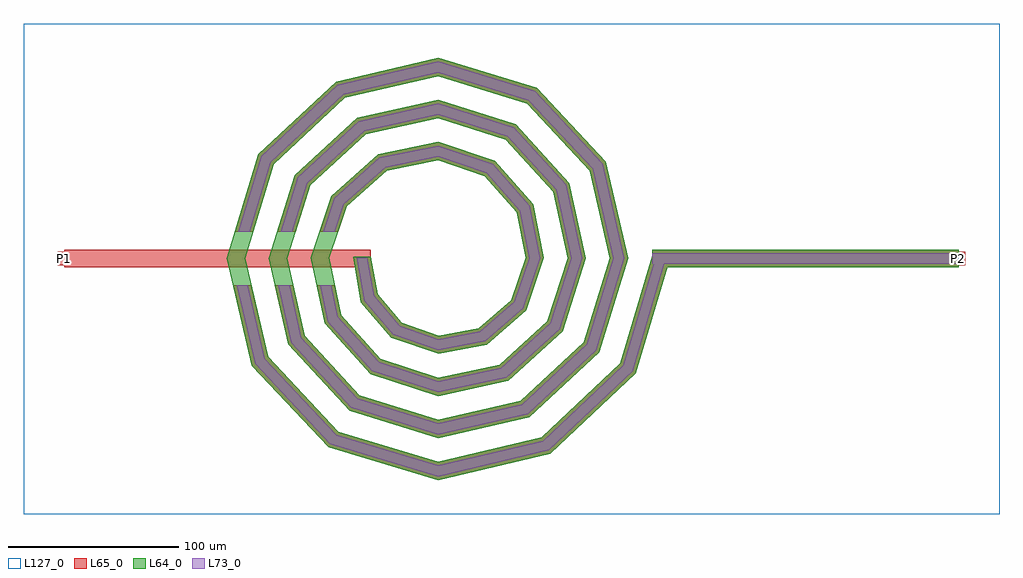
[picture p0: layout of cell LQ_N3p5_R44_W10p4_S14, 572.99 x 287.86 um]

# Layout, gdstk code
import gdstk
lib = gdstk.Library(unit=1e-6, precision=1e-09)
def R(c, l, rs):  # rectangles x0, y0, x1, y1
    for r in rs: c.add(gdstk.rectangle(r[:2], r[2:], *l))
def P(c, l, *ps):  # polygons
    for p in ps: c.add(gdstk.Polygon(p, *l))
L64_0 = (64, 0)
L65_0 = (65, 0)
L73_0 = (73, 0)
L127_0 = (127, 0)

lq_n3p5_r44_w10p4_s14 = lib.new_cell('LQ_N3p5_R44_W10p4_S14')
R(lq_n3p5_r44_w10p4_s14, L64_0, [(125.688,-5.2,305.688,5.2)])
P(lq_n3p5_r44_w10p4_s14, L64_0, [(-35.454,-20.981),(-21.258,-37.668),(0.407,-45.306),(24.019,-40.821),(42.985,-24.383),(51.473,0.363),(46.183,27.068),(27.5,48.308),(0.327,57.642),(-30.124,51.541),(-53.634,30.611),(-63.81,0.298),(-56.897,-33.184),(-33.718,-58.964),(0.274,-69.979),(36.249,-62.251),(64.296,-36.821),(76.149,0.253),(67.604,39.316),(39.922,69.629),(0.235,82.318),(-42.387,72.955),(-74.964,43.021),(-88.488,0.22),(-78.306,-45.459),(-46.118,-80.3),(0.206,-94.657),(48.532,-83.656),(85.637,-49.214),(100.827,0.194),(89.005,51.607),(52.308,90.975),(0.184,106.997),(-54.683,94.353),(-96.313,55.401),(-113.167,0.174),(-99.701,-57.76),(-58.494,-101.652),(0.166,-119.337),(60.838,-105.048),(106.991,-61.586),(125.907,1.494),(135.869,-1.494),(116.152,-67.245),(65.937,-114.532),(0.166,-130.099),(-64.167,-110.804),(-109.192,-62.845),(-123.929,0.174),(-105.456,61.09),(-59.751,103.853),(0.184,117.758),(58.013,100.107),(98.515,56.657),(111.588,0.194),(94.758,-54.937),(53.562,-93.177),(0.206,-105.417),(-51.863,-89.407),(-87.839,-50.465),(-99.247,0.22),(-84.056,48.79),(-47.367,82.503),(0.235,93.076),(45.718,78.704),(77.167,44.267),(86.905,0.253),(73.351,-42.649),(41.165,-71.833),(0.274,-80.734),(-39.582,-67.996),(-66.5,-38.059),(-74.563,0.298),(-62.638,36.519),(-34.95,61.169),(0.327,68.391),(33.46,57.278),(55.84,31.835),(62.219,0.363),(51.913,-30.407),(28.713,-50.515),(0.407,-56.046),(-27.361,-46.543),(-45.195,-25.582),(-49.624,0.919),(-39.388,0.919)])
R(lq_n3p5_r44_w10p4_s14, L65_0, [(-219.306,-5.2,-39.306,5.2), (125.688,-5.2,305.688,5.2), (-223.306,-4,-215.306,4), (301.688,-4,309.688,4)])
P(lq_n3p5_r44_w10p4_s14, L65_0, [(-99.701,-57.76),(-58.494,-101.652),(0.166,-119.337),(60.838,-105.048),(106.991,-61.586),(125.907,1.494),(135.869,-1.494),(116.152,-67.245),(65.937,-114.532),(0.166,-130.099),(-64.167,-110.804),(-109.192,-62.845),(-120.24,-15.6),(-109.56,-15.6)],
  [(-78.306,-45.459),(-46.118,-80.3),(0.206,-94.657),(48.532,-83.656),(85.637,-49.214),(100.827,0.194),(89.005,51.607),(52.308,90.975),(0.184,106.997),(-54.683,94.353),(-96.313,55.402),(-108.383,15.6),(-119.251,15.6),(-105.456,61.09),(-59.751,103.853),(0.184,117.758),(58.013,100.107),(98.515,56.657),(111.588,0.194),(94.758,-54.937),(53.562,-93.177),(0.206,-105.417),(-51.863,-89.408),(-87.839,-50.465),(-95.686,-15.6),(-85.026,-15.6)],
  [(-56.897,-33.184),(-33.718,-58.964),(0.274,-69.979),(36.249,-62.251),(64.296,-36.821),(76.149,0.253),(67.604,39.316),(39.922,69.629),(0.235,82.318),(-42.387,72.956),(-74.964,43.021),(-83.54,15.6),(-94.437,15.6),(-84.057,48.79),(-47.367,82.503),(0.235,93.076),(45.718,78.704),(77.167,44.267),(86.905,0.253),(73.351,-42.649),(41.165,-71.833),(0.274,-80.734),(-39.582,-67.996),(-66.5,-38.059),(-71.221,-15.6),(-60.594,-15.6)],
  [(-21.258,-37.668),(0.407,-45.306),(24.02,-40.821),(42.985,-24.383),(51.473,0.363),(46.183,27.068),(27.5,48.308),(0.327,57.642),(-30.124,51.541),(-53.634,30.611),(-58.576,15.6),(-69.525,15.6),(-62.638,36.519),(-34.95,61.169),(0.327,68.391),(33.46,57.278),(55.84,31.835),(62.219,0.363),(51.913,-30.407),(28.713,-50.515),(0.407,-56.046),(-27.362,-46.544),(-45.195,-25.582),(-49.624,0.919),(-39.388,0.919),(-35.455,-20.981)])
R(lq_n3p5_r44_w10p4_s14, L73_0, [(125.688,-3.2,305.688,3.2)])
P(lq_n3p5_r44_w10p4_s14, L73_0, [(-101.526,-58.738),(-59.585,-103.412),(0.102,-121.406),(61.818,-106.872),(108.753,-62.674),(127.823,0.919),(133.953,0.919),(114.39,-66.157),(64.956,-112.708),(0.102,-128.03),(-63.076,-109.044),(-107.367,-61.867),(-118.186,-15.6),(-111.614,-15.6)],
  [(-80.139,-46.421),(-47.223,-82.051),(0.127,-96.727),(49.499,-85.487),(87.391,-50.314),(102.897,0.12),(90.833,52.578),(53.405,92.731),(0.113,109.066),(-55.658,96.18),(-98.071,56.495),(-110.473,15.6),(-117.161,15.6),(-103.697,59.996),(-58.777,102.026),(0.113,115.689),(56.916,98.351),(96.686,55.686),(109.519,0.12),(93.004,-53.837),(52.595,-91.346),(0.127,-103.348),(-50.758,-87.656),(-86.006,-49.503),(-93.636,-15.6),(-87.076,-15.6)],
  [(-58.744,-34.122),(-34.845,-60.701),(0.169,-72.048),(37.194,-64.094),(66.037,-37.942),(78.217,0.156),(69.443,40.269),(41.037,71.374),(0.145,84.387),(-43.344,74.792),(-76.713,44.13),(-85.635,15.6),(-92.341,15.6),(-82.308,47.68),(-46.409,80.667),(0.145,91.007),(44.604,76.959),(75.328,43.315),(84.837,0.156),(71.609,-41.528),(40.219,-69.99),(0.169,-78.666),(-38.455,-66.259),(-64.653,-37.122),(-69.177,-15.6),(-62.637,-15.6)],
  [(-22.432,-39.375),(0.25,-47.371),(24.922,-42.685),(44.702,-25.541),(53.54,0.223),(48.04,27.985),(28.646,50.033),(0.202,59.709),(-31.052,53.393),(-55.366,31.747),(-60.682,15.6),(-67.42,15.6),(-60.907,35.383),(-34.022,59.317),(0.202,66.324),(32.314,55.553),(53.983,30.918),(60.153,0.223),(50.196,-29.248),(27.811,-48.651),(0.25,-53.981),(-26.188,-44.837),(-43.321,-24.697),(-47.656,0.566),(-41.356,0.566),(-37.328,-21.866)])
R(lq_n3p5_r44_w10p4_s14, L127_0, [(-243.306,-150.099,329.688,137.758)])
lq_n3p5_r44_w10p4_s14.add(gdstk.Label('P2', (305.688,0), layer=65, texttype=0))
lq_n3p5_r44_w10p4_s14.add(gdstk.Label('P1', (-219.306,0), layer=65, texttype=0))
lq_n3p5_r44_w10p4_s14.add(gdstk.Label('P2', (309.688,0), layer=145, texttype=0))
lq_n3p5_r44_w10p4_s14.add(gdstk.Label('P1', (-223.306,0), layer=145, texttype=0))

lib.write_gds('LQ_N3p5_R44_W10p4_S14.gds')
